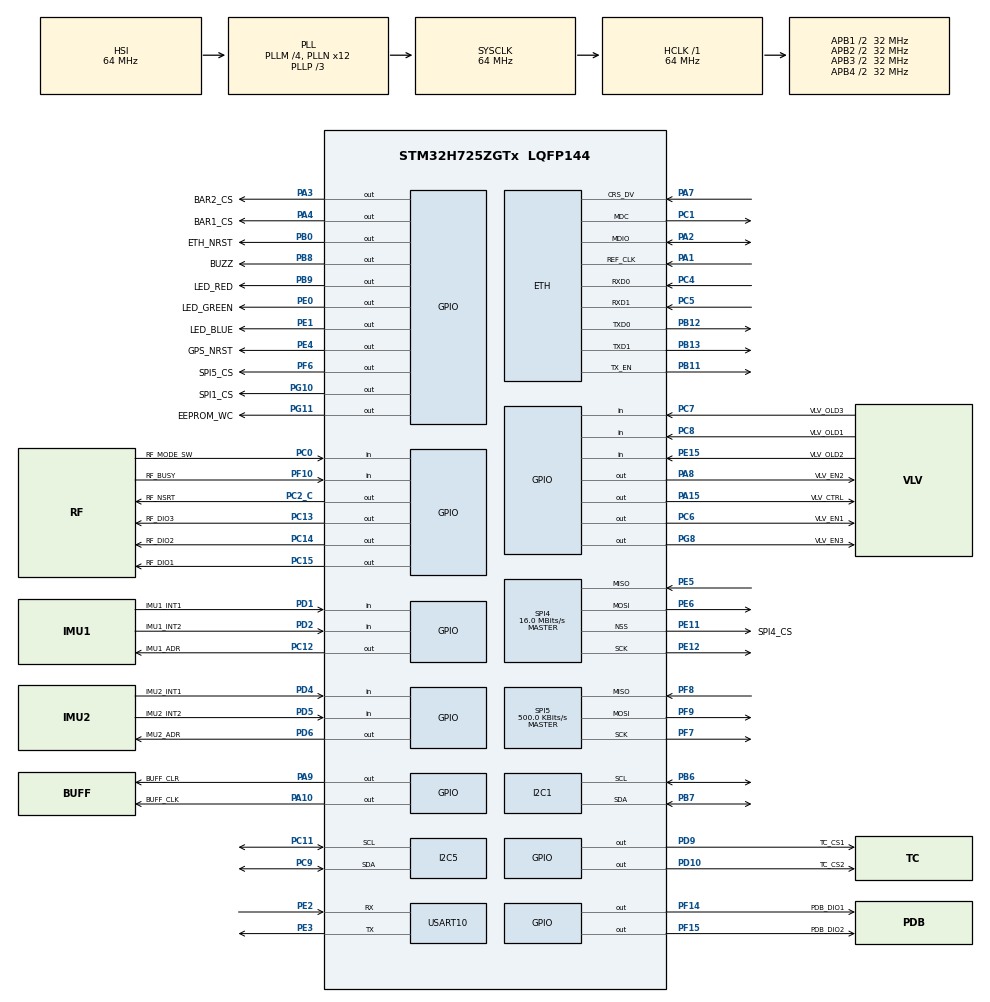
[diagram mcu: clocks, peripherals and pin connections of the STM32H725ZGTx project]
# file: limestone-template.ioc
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CORTEX_M7.AccessPermission-Cortex_Memory_Protection_Unit_Region0_Settings=MPU_REGION_NO_ACCESS
CORTEX_M7.AccessPermission-Cortex_Memory_Protection_Unit_Region1_Settings=MPU_REGION_FULL_ACCESS
CORTEX_M7.AccessPermission-Cortex_Memory_Protection_Unit_Region2_Settings=MPU_REGION_FULL_ACCESS
CORTEX_M7.AccessPermission_S-Cortex_Memory_Protection_Unit_Region1_Settings_S=MPU_REGION_FULL_ACCESS
CORTEX_M7.AccessPermission_S-Cortex_Memory_Protection_Unit_Region2_Settings_S=MPU_REGION_FULL_ACCESS
CORTEX_M7.AccessPermission_Spec=MPU_REGION_NO_ACCESS
CORTEX_M7.BaseAddress-Cortex_Memory_Protection_Unit_Region0_Settings=0x00000000
CORTEX_M7.BaseAddress-Cortex_Memory_Protection_Unit_Region1_Settings=0x30000200
CORTEX_M7.BaseAddress-Cortex_Memory_Protection_Unit_Region2_Settings=0x30000000
CORTEX_M7.BaseAddress_S-Cortex_Memory_Protection_Unit_Region1_Settings_S=0x30020000
CORTEX_M7.BaseAddress_S-Cortex_Memory_Protection_Unit_Region2_Settings_S=0x30040000
CORTEX_M7.CPU_DCache=Enabled
CORTEX_M7.CPU_ICache=Enabled
CORTEX_M7.DisableExec-Cortex_Memory_Protection_Unit_Region0_Settings=MPU_INSTRUCTION_ACCESS_DISABLE
CORTEX_M7.DisableExec-Cortex_Memory_Protection_Unit_Region1_Settings=MPU_INSTRUCTION_ACCESS_DISABLE
CORTEX_M7.DisableExec-Cortex_Memory_Protection_Unit_Region2_Settings=MPU_INSTRUCTION_ACCESS_DISABLE
CORTEX_M7.DisableExec_S-Cortex_Memory_Protection_Unit_Region1_Settings_S=MPU_INSTRUCTION_ACCESS_DISABLE
CORTEX_M7.DisableExec_S-Cortex_Memory_Protection_Unit_Region2_Settings_S=MPU_INSTRUCTION_ACCESS_DISABLE
CORTEX_M7.Enable-Cortex_Memory_Protection_Unit_Region0_Settings=MPU_REGION_ENABLE
CORTEX_M7.Enable-Cortex_Memory_Protection_Unit_Region1_Settings=MPU_REGION_ENABLE
CORTEX_M7.Enable-Cortex_Memory_Protection_Unit_Region2_Settings=MPU_REGION_ENABLE
CORTEX_M7.Enable_S-Cortex_Memory_Protection_Unit_Region1_Settings_S=MPU_REGION_ENABLE
CORTEX_M7.Enable_S-Cortex_Memory_Protection_Unit_Region2_Settings_S=MPU_REGION_ENABLE
CORTEX_M7.IsBufferable-Cortex_Memory_Protection_Unit_Region1_Settings=MPU_ACCESS_NOT_BUFFERABLE
CORTEX_M7.IsBufferable-Cortex_Memory_Protection_Unit_Region2_Settings=MPU_ACCESS_BUFFERABLE
CORTEX_M7.IsBufferable_S-Cortex_Memory_Protection_Unit_Region2_Settings_S=MPU_ACCESS_BUFFERABLE
CORTEX_M7.IsCacheable-Cortex_Memory_Protection_Unit_Region1_Settings=MPU_ACCESS_NOT_CACHEABLE
CORTEX_M7.IsShareable-Cortex_Memory_Protection_Unit_Region0_Settings=MPU_ACCESS_SHAREABLE
CORTEX_M7.IsShareable-Cortex_Memory_Protection_Unit_Region2_Settings=MPU_ACCESS_SHAREABLE
CORTEX_M7.IsShareable_S-Cortex_Memory_Protection_Unit_Region1_Settings_S=MPU_ACCESS_NOT_SHAREABLE
CORTEX_M7.IsShareable_S-Cortex_Memory_Protection_Unit_Region2_Settings_S=MPU_ACCESS_SHAREABLE
CORTEX_M7.MPU_Control=MPU_PRIVILEGED_DEFAULT
CORTEX_M7.Size-Cortex_Memory_Protection_Unit_Region0_Settings=MPU_REGION_SIZE_4GB
CORTEX_M7.Size-Cortex_Memory_Protection_Unit_Region1_Settings=MPU_REGION_SIZE_128KB
CORTEX_M7.Size-Cortex_Memory_Protection_Unit_Region2_Settings=MPU_REGION_SIZE_512B
CORTEX_M7.Size_S-Cortex_Memory_Protection_Unit_Region1_Settings_S=MPU_REGION_SIZE_128KB
CORTEX_M7.Size_S-Cortex_Memory_Protection_Unit_Region2_Settings_S=MPU_REGION_SIZE_512B
CORTEX_M7.SubRegionDisable-Cortex_Memory_Protection_Unit_Region0_Settings=0x87
CORTEX_M7.SubRegionDisable_S-Cortex_Memory_Protection_Unit_Region1_Settings_S=0x0
CORTEX_M7.TypeExtField-Cortex_Memory_Protection_Unit_Region1_Settings=MPU_TEX_LEVEL1
CORTEX_M7.TypeExtField_S-Cortex_Memory_Protection_Unit_Region1_Settings_S=MPU_TEX_LEVEL1
CORTEX_M7.default_mode_Activation=1
ETH.MediaInterface=HAL_ETH_RMII_MODE
ETH.RxBuffLen=1524
ETH.TxDescAddress=0x30000080
FREERTOS.Tasks01=defaultTask,24,512,StartDefaultTask,Default,NULL,Dynamic,NULL,NULL
FREERTOS.configUSE_NEWLIB_REENTRANT=1
I2C1.Timing=0x00707CBB
I2C5.Timing=0x00707CBB
Mcu.Family=STM32H7
Mcu.Name=STM32H725ZGTx
Mcu.Package=LQFP144
NVIC.ETH_IRQn=true\:5\:0\:true\:false\:true\:true\:true\:true\:true
NVIC.PriorityGroup=NVIC_PRIORITYGROUP_4
NVIC.TIM6_DAC_IRQn=true\:15\:0\:false\:false\:true\:false\:false\:true\:true
NVIC.TimeBase=TIM6_DAC_IRQn
NVIC.TimeBaseIP=TIM6
PA1.GPIO_Speed=GPIO_SPEED_FREQ_VERY_HIGH
PA1.Mode=RMII
PA1.Signal=ETH_REF_CLK
PA10.GPIO_Label=BUFF_CLK
PA10.GPIO_Speed=GPIO_SPEED_FREQ_VERY_HIGH
PA10.Signal=GPIO_Output
PA13(JTMS/SWDIO).Mode=Serial_Wire
PA13(JTMS/SWDIO).Signal=DEBUG_JTMS-SWDIO
PA14(JTCK/SWCLK).Mode=Serial_Wire
PA14(JTCK/SWCLK).Signal=DEBUG_JTCK-SWCLK
PA15(JTDI).GPIO_Label=VLV_CTRL
PA15(JTDI).GPIO_PuPd=GPIO_NOPULL
PA15(JTDI).GPIO_Speed=GPIO_SPEED_FREQ_VERY_HIGH
PA15(JTDI).Signal=GPIO_Output
PA2.GPIO_Speed=GPIO_SPEED_FREQ_VERY_HIGH
PA2.Mode=RMII
PA2.Signal=ETH_MDIO
PA3.GPIO_Label=BAR2_CS
PA3.Signal=GPIO_Output
PA4.GPIO_Label=BAR1_CS
PA4.Signal=GPIO_Output
PA6.Signal=SPI1_MISO
PA7.GPIO_Speed=GPIO_SPEED_FREQ_VERY_HIGH
PA7.Mode=RMII
PA7.Signal=ETH_CRS_DV
PA8.GPIO_Label=VLV_EN2
PA8.Signal=GPIO_Output
PA9.GPIO_Label=BUFF_CLR
PA9.GPIO_Speed=GPIO_SPEED_FREQ_VERY_HIGH
PA9.Signal=GPIO_Output
PB0.GPIO_Label=ETH_NRST
PB0.Signal=GPIO_Output
PB10.Signal=SPI2_SCK
PB11.GPIO_Speed=GPIO_SPEED_FREQ_VERY_HIGH
PB11.Mode=RMII
PB11.Signal=ETH_TX_EN
PB12.GPIO_Speed=GPIO_SPEED_FREQ_VERY_HIGH
PB12.Mode=RMII
PB12.Signal=ETH_TXD0
PB13.GPIO_Speed=GPIO_SPEED_FREQ_VERY_HIGH
PB13.Mode=RMII
PB13.Signal=ETH_TXD1
PB14.Signal=SPI2_MISO
PB15.Signal=SPI2_MOSI
PB2.Signal=SPI3_MOSI
PB3(JTDO/TRACESWO).Signal=SPI1_SCK
PB4(NJTRST).Signal=SPI3_MISO
PB5.Signal=SPI1_MOSI
PB6.Mode=I2C
PB6.Signal=I2C1_SCL
PB7.Mode=I2C
PB7.Signal=I2C1_SDA
PB8.GPIO_Label=BUZZ
PB8.Signal=GPIO_Output
PB9.GPIO_Label=LED_RED
PB9.Signal=GPIO_Output
PC0.GPIO_Label=RF_MODE_SW
PC0.Signal=GPIO_Input
PC1.GPIO_Speed=GPIO_SPEED_FREQ_VERY_HIGH
PC1.Mode=RMII
PC1.Signal=ETH_MDC
PC10.Signal=SPI3_SCK
PC11.Mode=I2C
PC11.Signal=I2C5_SCL
PC12.GPIO_Label=IMU1_ADR
PC12.Signal=GPIO_Output
PC13.GPIO_Label=RF_DIO3
PC13.Signal=GPIO_Output
PC14-OSC32_IN.GPIO_Label=RF_DIO2
PC14-OSC32_IN.Signal=GPIO_Output
PC15-OSC32_OUT.GPIO_Label=RF_DIO1
PC15-OSC32_OUT.Signal=GPIO_Output
PC2_C.GPIO_Label=RF_NSRT
PC2_C.Signal=GPIO_Output
PC4.GPIO_Speed=GPIO_SPEED_FREQ_VERY_HIGH
PC4.Mode=RMII
PC4.Signal=ETH_RXD0
PC5.GPIO_Speed=GPIO_SPEED_FREQ_VERY_HIGH
PC5.Mode=RMII
PC5.Signal=ETH_RXD1
PC6.GPIO_Label=VLV_EN1
PC6.Signal=GPIO_Output
PC7.GPIO_Label=VLV_OLD3
PC7.Signal=GPIO_Input
PC8.GPIO_Label=VLV_OLD1
PC8.Signal=GPIO_Input
PC9.Mode=I2C
PC9.Signal=I2C5_SDA
PD1.GPIO_Label=IMU1_INT1
PD1.Signal=GPIO_Input
PD10.GPIO_Label=TC_CS2
PD10.Signal=GPIO_Output
PD2.GPIO_Label=IMU1_INT2
PD2.Signal=GPIO_Input
PD4.GPIO_Label=IMU2_INT1
PD4.Signal=GPIO_Input
PD5.GPIO_Label=IMU2_INT2
PD5.Signal=GPIO_Input
PD6.GPIO_Label=IMU2_ADR
PD6.Signal=GPIO_Output
PD9.GPIO_Label=TC_CS1
PD9.Signal=GPIO_Output
PE0.GPIO_Label=LED_GREEN
PE0.Signal=GPIO_Output
PE1.GPIO_Label=LED_BLUE
PE1.Signal=GPIO_Output
PE11.GPIO_Label=SPI4_CS
PE11.Mode=NSS_Signal_Hard_Output
PE11.Signal=SPI4_NSS
PE12.Mode=Full_Duplex_Master
PE12.Signal=SPI4_SCK
PE15.GPIO_Label=VLV_OLD2
PE15.Signal=GPIO_Input
PE2.Mode=Asynchronous
PE2.Signal=USART10_RX
PE3.Mode=Asynchronous
PE3.Signal=USART10_TX
PE4.GPIO_Label=GPS_NRST
PE4.Signal=GPIO_Output
PE5.Mode=Full_Duplex_Master
PE5.Signal=SPI4_MISO
PE6.Mode=Full_Duplex_Master
PE6.Signal=SPI4_MOSI
PF10.GPIO_Label=RF_BUSY
PF10.Signal=GPIO_Input
PF14.GPIO_Label=PDB_DIO1
PF14.Signal=GPIO_Output
PF15.GPIO_Label=PDB_DIO2
PF15.Signal=GPIO_Output
PF6.GPIO_Label=SPI5_CS
PF6.Signal=GPIO_Output
PF7.Mode=Full_Duplex_Master
PF7.Signal=SPI5_SCK
PF8.Mode=Full_Duplex_Master
PF8.Signal=SPI5_MISO
PF9.Mode=Full_Duplex_Master
PF9.Signal=SPI5_MOSI
PG10.GPIO_Label=SPI1_CS
PG10.Signal=GPIO_Output
PG11.GPIO_Label=EEPROM_WC
PG11.Signal=GPIO_Output
PG12.Signal=SPI6_MISO
PG14.Signal=SPI6_MOSI
PG8.GPIO_Label=VLV_EN3
PG8.Signal=GPIO_Output
ProjectManager.HeapSize=0x200
ProjectManager.StackSize=0x400
ProjectManager.TargetToolchain=STM32CubeIDE
RCC.ADCFreq_Value=516000000
RCC.APB1Freq_Value=32000000
RCC.APB2Freq_Value=32000000
RCC.APB3Freq_Value=32000000
RCC.APB4Freq_Value=32000000
RCC.CortexFreq_Value=64000000
RCC.D1PPRE=RCC_APB3_DIV2
RCC.D2PPRE1=RCC_APB1_DIV2
RCC.D2PPRE2=RCC_APB2_DIV2
RCC.D3PPRE=RCC_APB4_DIV2
RCC.DIVM1=4
RCC.DIVM2=8
RCC.DIVM3=8
RCC.DIVN1=12
RCC.DIVP1=3
RCC.DIVQ1=3
RCC.HCLKFreq_Value=64000000
RCC.HSE_VALUE=48000000
RCC.PLL2FRACN=0
RCC.PLL3FRACN=0
RCC.PLLFRACN=0
RCC.SYSCLKFreq_VALUE=64000000
RCC.SYSCLKSource=RCC_SYSCLKSOURCE_PLLCLK
RCC.SupplySource=PWR_LDO_SUPPLY
RCC.USBFreq_Value=64000000
SPI4.CalculateBaudRate=16.0 MBits/s
SPI4.DataSize=SPI_DATASIZE_8BIT
SPI4.Direction=SPI_DIRECTION_2LINES
SPI4.Mode=SPI_MODE_MASTER
SPI4.VirtualNSS=VM_NSSHARD
SPI4.VirtualType=VM_MASTER
SPI5.BaudRatePrescaler=SPI_BAUDRATEPRESCALER_64
SPI5.CalculateBaudRate=500.0 KBits/s
SPI5.DataSize=SPI_DATASIZE_8BIT
SPI5.Direction=SPI_DIRECTION_2LINES
SPI5.Mode=SPI_MODE_MASTER
SPI5.VirtualType=VM_MASTER
USART10.VirtualMode-Asynchronous=VM_ASYNC
VP_FREERTOS_VS_CMSIS_V2.Mode=CMSIS_V2
VP_MEMORYMAP_VS_MEMORYMAP.Mode=CurAppReg
VP_RTC_VS_RTC_Activate.Mode=RTC_Enabled
VP_SYS_VS_tim6.Mode=TIM6
board=custom

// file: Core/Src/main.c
/* USER CODE BEGIN Header */
/**
  ******************************************************************************
  * @file           : main.c
  * @brief          : Main program body
  ******************************************************************************
  * @attention
  *
  * Copyright (c) 2024 STMicroelectronics.
  * All rights reserved.
  *
  * This software is licensed under terms that can be found in the LICENSE file
  * in the root directory of this software component.
  * If no LICENSE file comes with this software, it is provided AS-IS.
  *
  ******************************************************************************
  */
/* USER CODE END Header */
#include "main.h"
#include "string.h"
#include "cmsis_os.h"

/* USER CODE BEGIN Includes */
#include "MS5611.h"
#include "sx1280.h"
#include <stdio.h>
/* USER CODE END Includes */

/* USER CODE BEGIN PD */
//CHANGE TRANSMIT/RECEIVE HERE
#define IS_TRANSMITTER 0

// Packet Defines
#define TARGET_PAYLOAD_SIZE 375
#define MAX_LORA_PAYLOAD 255
#define HEADER_SIZE 1 // 1 byte for Packet Sequence Number
#define CHUNK_SIZE (MAX_LORA_PAYLOAD - HEADER_SIZE)
/* USER CODE END PD */

/* USER CODE BEGIN PM */
#define SX1280_IRQ_TX_DONE              (1 << 0)
#define SX1280_IRQ_RX_DONE              (1 << 1)
#define SX1280_IRQ_SYNC_WORD_VALID      (1 << 2)
#define SX1280_IRQ_SYNC_WORD_ERROR      (1 << 3)
#define SX1280_IRQ_HEADER_VALID         (1 << 4)
#define SX1280_IRQ_HEADER_ERROR         (1 << 5)
#define SX1280_IRQ_CRC_ERROR            (1 << 6)
#define SX1280_IRQ_RX_TX_TIMEOUT        (1 << 14)
/* USER CODE END PM */

#if defined ( __ICCARM__ ) /*!< IAR Compiler */
#pragma location=0x30000000
ETH_DMADescTypeDef  DMARxDscrTab[ETH_RX_DESC_CNT]; /* Ethernet Rx DMA Descriptors */
#pragma location=0x30000080
ETH_DMADescTypeDef  DMATxDscrTab[ETH_TX_DESC_CNT]; /* Ethernet Tx DMA Descriptors */

#elif defined ( __CC_ARM )  /* MDK ARM Compiler */

__attribute__((at(0x30000000))) ETH_DMADescTypeDef  DMARxDscrTab[ETH_RX_DESC_CNT]; /* Ethernet Rx DMA Descriptors */
__attribute__((at(0x30000080))) ETH_DMADescTypeDef  DMATxDscrTab[ETH_TX_DESC_CNT]; /* Ethernet Tx DMA Descriptors */

#elif defined ( __GNUC__ ) /* GNU Compiler */

ETH_DMADescTypeDef DMARxDscrTab[ETH_RX_DESC_CNT] __attribute__((section(".RxDescripSection"))); /* Ethernet Rx DMA Descriptors */
ETH_DMADescTypeDef DMATxDscrTab[ETH_TX_DESC_CNT] __attribute__((section(".TxDescripSection")));   /* Ethernet Tx DMA Descriptors */
#endif

ETH_TxPacketConfig TxConfig;

ETH_HandleTypeDef heth;

I2C_HandleTypeDef hi2c1;
I2C_HandleTypeDef hi2c5;

RTC_HandleTypeDef hrtc;

SPI_HandleTypeDef hspi4;
SPI_HandleTypeDef hspi5;

UART_HandleTypeDef huart10;

/* Definitions for defaultTask */
osThreadId_t defaultTaskHandle;
const osThreadAttr_t defaultTask_attributes = {
  .name = "defaultTask",
  .stack_size = 1024 * 4,
  .priority = (osPriority_t) osPriorityNormal,
};
/* USER CODE BEGIN PV */
// Handle for radio driver
SX1280_Hal_t radio_hal_config;

// Status var for driver funcs
SX1280_Status_t radio_status;

#ifdef __GNUC__
#define PUTCHAR_PROTOTYPE int __io_putchar(int ch)
#else
#define PUTCHAR_PROTOTYPE int fputc(int ch, FILE *f)
#endif
PUTCHAR_PROTOTYPE
{
  HAL_UART_Transmit(&huart10, (uint8_t *)&ch, 1, HAL_MAX_DELAY);
  return ch;
}

/* USER CODE END PV */

void SystemClock_Config(void);
static void MPU_Config(void);
static void MX_GPIO_Init(void);
static void MX_I2C1_Init(void);
static void MX_I2C5_Init(void);
static void MX_SPI4_Init(void);
static void MX_SPI5_Init(void);
static void MX_USART10_UART_Init(void);
static void MX_RTC_Init(void);
static void MX_ETH_Init(void);
void StartDefaultTask(void *argument);

int main(void)
{

  /* USER CODE BEGIN 1 */
  //SCB->VTOR = FLASH_BASE; // fuck this stupid bug kys
  /* USER CODE END 1 */

  /* MPU Configuration--------------------------------------------------------*/
  MPU_Config();

  /* Enable the CPU Cache */

  /* Enable I-Cache---------------------------------------------------------*/
  SCB_EnableICache();

  /* Enable D-Cache---------------------------------------------------------*/
  SCB_EnableDCache();

  /* MCU Configuration--------------------------------------------------------*/

  /* Reset of all peripherals, Initializes the Flash interface and the Systick. */
  HAL_Init();

  /* Configure the system clock */
  SystemClock_Config();

  /* Initialize all configured peripherals */
  MX_GPIO_Init();
  MX_I2C1_Init();
  MX_I2C5_Init();
  MX_SPI4_Init();
  MX_SPI5_Init();
  MX_USART10_UART_Init();
  MX_RTC_Init();
  MX_ETH_Init();
  /* USER CODE BEGIN 2 */
  printf("LIMESTONE BOOTING--\r\n");

  /* USER CODE END 2 */

  /* Init scheduler */
  osKernelInitialize();

  /* Create the thread(s) */
  /* creation of defaultTask */
  defaultTaskHandle = osThreadNew(StartDefaultTask, NULL, &defaultTask_attributes);

  /* Start scheduler */
  osKernelStart();

  /* We should never get here as control is now taken by the scheduler */

  /* Infinite loop */
  while (1)
  {

  }
}

void SystemClock_Config(void)
{
  RCC_OscInitTypeDef RCC_OscInitStruct = {0};
  RCC_ClkInitTypeDef RCC_ClkInitStruct = {0};

  /** Supply configuration update enable
  */
  HAL_PWREx_ConfigSupply(PWR_LDO_SUPPLY);

  /** Configure the main internal regulator output voltage
  */
  __HAL_PWR_VOLTAGESCALING_CONFIG(PWR_REGULATOR_VOLTAGE_SCALE3);

  while(!__HAL_PWR_GET_FLAG(PWR_FLAG_VOSRDY)) {}

  /** Initializes the RCC Oscillators according to the specified parameters
  * in the RCC_OscInitTypeDef structure.
  */
  RCC_OscInitStruct.OscillatorType = RCC_OSCILLATORTYPE_HSI|RCC_OSCILLATORTYPE_LSI;
  RCC_OscInitStruct.HSIState = RCC_HSI_DIV1;
  RCC_OscInitStruct.HSICalibrationValue = 64;
  RCC_OscInitStruct.LSIState = RCC_LSI_ON;
  RCC_OscInitStruct.PLL.PLLState = RCC_PLL_ON;
  RCC_OscInitStruct.PLL.PLLSource = RCC_PLLSOURCE_HSI;
  RCC_OscInitStruct.PLL.PLLM = 4;
  RCC_OscInitStruct.PLL.PLLN = 12;
  RCC_OscInitStruct.PLL.PLLP = 3;
  RCC_OscInitStruct.PLL.PLLQ = 3;
  RCC_OscInitStruct.PLL.PLLR = 2;
  RCC_OscInitStruct.PLL.PLLRGE = RCC_PLL1VCIRANGE_3;
  RCC_OscInitStruct.PLL.PLLVCOSEL = RCC_PLL1VCOWIDE;
  RCC_OscInitStruct.PLL.PLLFRACN = 0;
  if (HAL_RCC_OscConfig(&RCC_OscInitStruct) != HAL_OK)
  {
    Error_Handler();
  }

  /** Initializes the CPU, AHB and APB buses clocks
  */
  RCC_ClkInitStruct.ClockType = RCC_CLOCKTYPE_HCLK|RCC_CLOCKTYPE_SYSCLK
                              |RCC_CLOCKTYPE_PCLK1|RCC_CLOCKTYPE_PCLK2
                              |RCC_CLOCKTYPE_D3PCLK1|RCC_CLOCKTYPE_D1PCLK1;
  RCC_ClkInitStruct.SYSCLKSource = RCC_SYSCLKSOURCE_PLLCLK;
  RCC_ClkInitStruct.SYSCLKDivider = RCC_SYSCLK_DIV1;
  RCC_ClkInitStruct.AHBCLKDivider = RCC_HCLK_DIV1;
  RCC_ClkInitStruct.APB3CLKDivider = RCC_APB3_DIV2;
  RCC_ClkInitStruct.APB1CLKDivider = RCC_APB1_DIV2;
  RCC_ClkInitStruct.APB2CLKDivider = RCC_APB2_DIV2;
  RCC_ClkInitStruct.APB4CLKDivider = RCC_APB4_DIV2;

  if (HAL_RCC_ClockConfig(&RCC_ClkInitStruct, FLASH_LATENCY_1) != HAL_OK)
  {
    Error_Handler();
  }
}

static void MX_ETH_Init(void)
{

   static uint8_t MACAddr[6];

  heth.Instance = ETH;
  MACAddr[0] = 0x00;
  MACAddr[1] = 0x80;
  MACAddr[2] = 0xE1;
  MACAddr[3] = 0x00;
  MACAddr[4] = 0x00;
  MACAddr[5] = 0x00;
  heth.Init.MACAddr = &MACAddr[0];
  heth.Init.MediaInterface = HAL_ETH_RMII_MODE;
  heth.Init.TxDesc = DMATxDscrTab;
  heth.Init.RxDesc = DMARxDscrTab;
  heth.Init.RxBuffLen = 1524;

  if (HAL_ETH_Init(&heth) != HAL_OK)
  {
    Error_Handler();
  }

  memset(&TxConfig, 0 , sizeof(ETH_TxPacketConfig));
  TxConfig.Attributes = ETH_TX_PACKETS_FEATURES_CSUM | ETH_TX_PACKETS_FEATURES_CRCPAD;
  TxConfig.ChecksumCtrl = ETH_CHECKSUM_IPHDR_PAYLOAD_INSERT_PHDR_CALC;
  TxConfig.CRCPadCtrl = ETH_CRC_PAD_INSERT;

}

static void MX_I2C1_Init(void)
{

  hi2c1.Instance = I2C1;
  hi2c1.Init.Timing = 0x00707CBB;
  hi2c1.Init.OwnAddress1 = 0;
  hi2c1.Init.AddressingMode = I2C_ADDRESSINGMODE_7BIT;
  hi2c1.Init.DualAddressMode = I2C_DUALADDRESS_DISABLE;
  hi2c1.Init.OwnAddress2 = 0;
  hi2c1.Init.OwnAddress2Masks = I2C_OA2_NOMASK;
  hi2c1.Init.GeneralCallMode = I2C_GENERALCALL_DISABLE;
  hi2c1.Init.NoStretchMode = I2C_NOSTRETCH_DISABLE;
  if (HAL_I2C_Init(&hi2c1) != HAL_OK)
  {
    Error_Handler();
  }

  /** Configure Analogue filter
  */
  if (HAL_I2CEx_ConfigAnalogFilter(&hi2c1, I2C_ANALOGFILTER_ENABLE) != HAL_OK)
  {
    Error_Handler();
  }

  /** Configure Digital filter
  */
  if (HAL_I2CEx_ConfigDigitalFilter(&hi2c1, 0) != HAL_OK)
  {
    Error_Handler();
  }

}

static void MX_I2C5_Init(void)
{

  hi2c5.Instance = I2C5;
  hi2c5.Init.Timing = 0x00707CBB;
  hi2c5.Init.OwnAddress1 = 0;
  hi2c5.Init.AddressingMode = I2C_ADDRESSINGMODE_7BIT;
  hi2c5.Init.DualAddressMode = I2C_DUALADDRESS_DISABLE;
  hi2c5.Init.OwnAddress2 = 0;
  hi2c5.Init.OwnAddress2Masks = I2C_OA2_NOMASK;
  hi2c5.Init.GeneralCallMode = I2C_GENERALCALL_DISABLE;
  hi2c5.Init.NoStretchMode = I2C_NOSTRETCH_DISABLE;
  if (HAL_I2C_Init(&hi2c5) != HAL_OK)
  {
    Error_Handler();
  }

  /** Configure Analogue filter
  */
  if (HAL_I2CEx_ConfigAnalogFilter(&hi2c5, I2C_ANALOGFILTER_ENABLE) != HAL_OK)
  {
    Error_Handler();
  }

  /** Configure Digital filter
  */
  if (HAL_I2CEx_ConfigDigitalFilter(&hi2c5, 0) != HAL_OK)
  {
    Error_Handler();
  }

}

static void MX_RTC_Init(void)
{

  /** Initialize RTC Only
  */
  hrtc.Instance = RTC;
  hrtc.Init.HourFormat = RTC_HOURFORMAT_24;
  hrtc.Init.AsynchPrediv = 127;
  hrtc.Init.SynchPrediv = 255;
  hrtc.Init.OutPut = RTC_OUTPUT_DISABLE;
  hrtc.Init.OutPutPolarity = RTC_OUTPUT_POLARITY_HIGH;
  hrtc.Init.OutPutType = RTC_OUTPUT_TYPE_OPENDRAIN;
  hrtc.Init.OutPutRemap = RTC_OUTPUT_REMAP_NONE;
  if (HAL_RTC_Init(&hrtc) != HAL_OK)
  {
    Error_Handler();
  }

}

static void MX_SPI4_Init(void)
{

  /* SPI4 parameter configuration*/
  hspi4.Instance = SPI4;
  hspi4.Init.Mode = SPI_MODE_MASTER;
  hspi4.Init.Direction = SPI_DIRECTION_2LINES;
  hspi4.Init.DataSize = SPI_DATASIZE_8BIT;
  hspi4.Init.CLKPolarity = SPI_POLARITY_LOW;
  hspi4.Init.CLKPhase = SPI_PHASE_1EDGE;
  hspi4.Init.NSS = SPI_NSS_HARD_OUTPUT;
  hspi4.Init.BaudRatePrescaler = SPI_BAUDRATEPRESCALER_2;
  hspi4.Init.FirstBit = SPI_FIRSTBIT_MSB;
  hspi4.Init.TIMode = SPI_TIMODE_DISABLE;
  hspi4.Init.CRCCalculation = SPI_CRCCALCULATION_DISABLE;
  hspi4.Init.CRCPolynomial = 0x0;
  hspi4.Init.NSSPMode = SPI_NSS_PULSE_ENABLE;
  hspi4.Init.NSSPolarity = SPI_NSS_POLARITY_LOW;
  hspi4.Init.FifoThreshold = SPI_FIFO_THRESHOLD_01DATA;
  hspi4.Init.TxCRCInitializationPattern = SPI_CRC_INITIALIZATION_ALL_ZERO_PATTERN;
  hspi4.Init.RxCRCInitializationPattern = SPI_CRC_INITIALIZATION_ALL_ZERO_PATTERN;
  hspi4.Init.MasterSSIdleness = SPI_MASTER_SS_IDLENESS_00CYCLE;
  hspi4.Init.MasterInterDataIdleness = SPI_MASTER_INTERDATA_IDLENESS_00CYCLE;
  hspi4.Init.MasterReceiverAutoSusp = SPI_MASTER_RX_AUTOSUSP_DISABLE;
  hspi4.Init.MasterKeepIOState = SPI_MASTER_KEEP_IO_STATE_DISABLE;
  hspi4.Init.IOSwap = SPI_IO_SWAP_DISABLE;
  if (HAL_SPI_Init(&hspi4) != HAL_OK)
  {
    Error_Handler();
  }

}

static void MX_SPI5_Init(void)
{

  /* SPI5 parameter configuration*/
  hspi5.Instance = SPI5;
  hspi5.Init.Mode = SPI_MODE_MASTER;
  hspi5.Init.Direction = SPI_DIRECTION_2LINES;
  hspi5.Init.DataSize = SPI_DATASIZE_8BIT;
  hspi5.Init.CLKPolarity = SPI_POLARITY_LOW;
  hspi5.Init.CLKPhase = SPI_PHASE_1EDGE;
  hspi5.Init.NSS = SPI_NSS_SOFT;
  hspi5.Init.BaudRatePrescaler = SPI_BAUDRATEPRESCALER_64;
  hspi5.Init.FirstBit = SPI_FIRSTBIT_MSB;
  hspi5.Init.TIMode = SPI_TIMODE_DISABLE;
  hspi5.Init.CRCCalculation = SPI_CRCCALCULATION_DISABLE;
  hspi5.Init.CRCPolynomial = 0x0;
  hspi5.Init.NSSPMode = SPI_NSS_PULSE_ENABLE;
  hspi5.Init.NSSPolarity = SPI_NSS_POLARITY_LOW;
  hspi5.Init.FifoThreshold = SPI_FIFO_THRESHOLD_01DATA;
  hspi5.Init.TxCRCInitializationPattern = SPI_CRC_INITIALIZATION_ALL_ZERO_PATTERN;
  hspi5.Init.RxCRCInitializationPattern = SPI_CRC_INITIALIZATION_ALL_ZERO_PATTERN;
  hspi5.Init.MasterSSIdleness = SPI_MASTER_SS_IDLENESS_00CYCLE;
  hspi5.Init.MasterInterDataIdleness = SPI_MASTER_INTERDATA_IDLENESS_00CYCLE;
  hspi5.Init.MasterReceiverAutoSusp = SPI_MASTER_RX_AUTOSUSP_DISABLE;
  hspi5.Init.MasterKeepIOState = SPI_MASTER_KEEP_IO_STATE_DISABLE;
  hspi5.Init.IOSwap = SPI_IO_SWAP_DISABLE;
  if (HAL_SPI_Init(&hspi5) != HAL_OK)
  {
    Error_Handler();
  }

}

static void MX_USART10_UART_Init(void)
{

  huart10.Instance = USART10;
  huart10.Init.BaudRate = 115200;
  huart10.Init.WordLength = UART_WORDLENGTH_8B;
  huart10.Init.StopBits = UART_STOPBITS_1;
  huart10.Init.Parity = UART_PARITY_NONE;
  huart10.Init.Mode = UART_MODE_TX_RX;
  huart10.Init.HwFlowCtl = UART_HWCONTROL_NONE;
  huart10.Init.OverSampling = UART_OVERSAMPLING_16;
  huart10.Init.OneBitSampling = UART_ONE_BIT_SAMPLE_DISABLE;
  huart10.Init.ClockPrescaler = UART_PRESCALER_DIV1;
  huart10.AdvancedInit.AdvFeatureInit = UART_ADVFEATURE_NO_INIT;
  if (HAL_UART_Init(&huart10) != HAL_OK)
  {
    Error_Handler();
  }
  if (HAL_UARTEx_SetTxFifoThreshold(&huart10, UART_TXFIFO_THRESHOLD_1_8) != HAL_OK)
  {
    Error_Handler();
  }
  if (HAL_UARTEx_SetRxFifoThreshold(&huart10, UART_RXFIFO_THRESHOLD_1_8) != HAL_OK)
  {
    Error_Handler();
  }
  if (HAL_UARTEx_DisableFifoMode(&huart10) != HAL_OK)
  {
    Error_Handler();
  }

}

static void MX_GPIO_Init(void)
{
  GPIO_InitTypeDef GPIO_InitStruct = {0};

  /* GPIO Ports Clock Enable */
  __HAL_RCC_GPIOE_CLK_ENABLE();
  __HAL_RCC_GPIOC_CLK_ENABLE();
  __HAL_RCC_GPIOF_CLK_ENABLE();
  __HAL_RCC_GPIOA_CLK_ENABLE();
  __HAL_RCC_GPIOB_CLK_ENABLE();
  __HAL_RCC_GPIOD_CLK_ENABLE();
  __HAL_RCC_GPIOG_CLK_ENABLE();

  /*Configure GPIO pin Output Level */
  HAL_GPIO_WritePin(GPIOE, GPS_NRST_Pin|LED_GREEN_Pin|LED_BLUE_Pin, GPIO_PIN_RESET);

  /*Configure GPIO pin Output Level */
  HAL_GPIO_WritePin(GPIOC, RF_DIO3_Pin|RF_DIO2_Pin|RF_DIO1_Pin|RF_NSRT_Pin
                          |VLV_EN1_Pin|IMU1_ADR_Pin, GPIO_PIN_RESET);

  /*Configure GPIO pin Output Level */
  HAL_GPIO_WritePin(GPIOF, SPI5_CS_Pin|PDB_DIO1_Pin|PDB_DIO2_Pin, GPIO_PIN_RESET);

  /*Configure GPIO pin Output Level */
  HAL_GPIO_WritePin(GPIOA, BAR2_CS_Pin|BAR1_CS_Pin|VLV_EN2_Pin|BUFF_CLR_Pin
                          |BUFF_CLK_Pin|VLV_CTRL_Pin, GPIO_PIN_RESET);

  /*Configure GPIO pin Output Level */
  HAL_GPIO_WritePin(GPIOB, ETH_NRST_Pin|BUZZ_Pin|LED_RED_Pin, GPIO_PIN_RESET);

  /*Configure GPIO pin Output Level */
  HAL_GPIO_WritePin(GPIOD, TC_CS1_Pin|TC_CS2_Pin|IMU2_ADR_Pin, GPIO_PIN_RESET);

  /*Configure GPIO pin Output Level */
  HAL_GPIO_WritePin(GPIOG, VLV_EN3_Pin|SPI1_CS_Pin|EEPROM_WC_Pin, GPIO_PIN_RESET);

  /*Configure GPIO pins : GPS_NRST_Pin LED_GREEN_Pin LED_BLUE_Pin */
  GPIO_InitStruct.Pin = GPS_NRST_Pin|LED_GREEN_Pin|LED_BLUE_Pin;
  GPIO_InitStruct.Mode = GPIO_MODE_OUTPUT_PP;
  GPIO_InitStruct.Pull = GPIO_NOPULL;
  GPIO_InitStruct.Speed = GPIO_SPEED_FREQ_LOW;
  HAL_GPIO_Init(GPIOE, &GPIO_InitStruct);

  /*Configure GPIO pins : RF_DIO3_Pin RF_DIO2_Pin RF_DIO1_Pin RF_NSRT_Pin
                           VLV_EN1_Pin IMU1_ADR_Pin */
  GPIO_InitStruct.Pin = RF_DIO3_Pin|RF_DIO2_Pin|RF_DIO1_Pin|RF_NSRT_Pin
                          |VLV_EN1_Pin|IMU1_ADR_Pin;
  GPIO_InitStruct.Mode = GPIO_MODE_OUTPUT_PP;
  GPIO_InitStruct.Pull = GPIO_NOPULL;
  GPIO_InitStruct.Speed = GPIO_SPEED_FREQ_LOW;
  HAL_GPIO_Init(GPIOC, &GPIO_InitStruct);

  /*Configure GPIO pins : SPI5_CS_Pin PDB_DIO1_Pin PDB_DIO2_Pin */
  GPIO_InitStruct.Pin = SPI5_CS_Pin|PDB_DIO1_Pin|PDB_DIO2_Pin;
  GPIO_InitStruct.Mode = GPIO_MODE_OUTPUT_PP;
  GPIO_InitStruct.Pull = GPIO_NOPULL;
  GPIO_InitStruct.Speed = GPIO_SPEED_FREQ_LOW;
  HAL_GPIO_Init(GPIOF, &GPIO_InitStruct);

  /*Configure GPIO pin : RF_BUSY_Pin */
  GPIO_InitStruct.Pin = RF_BUSY_Pin;
  GPIO_InitStruct.Mode = GPIO_MODE_INPUT;
  GPIO_InitStruct.Pull = GPIO_NOPULL;
  HAL_GPIO_Init(RF_BUSY_GPIO_Port, &GPIO_InitStruct);

  /*Configure GPIO pins : RF_MODE_SW_Pin VLV_OLD3_Pin VLV_OLD1_Pin */
  GPIO_InitStruct.Pin = RF_MODE_SW_Pin|VLV_OLD3_Pin|VLV_OLD1_Pin;
  GPIO_InitStruct.Mode = GPIO_MODE_INPUT;
  GPIO_InitStruct.Pull = GPIO_NOPULL;
  HAL_GPIO_Init(GPIOC, &GPIO_InitStruct);

  /*Configure GPIO pins : BAR2_CS_Pin BAR1_CS_Pin VLV_EN2_Pin */
  GPIO_InitStruct.Pin = BAR2_CS_Pin|BAR1_CS_Pin|VLV_EN2_Pin;
  GPIO_InitStruct.Mode = GPIO_MODE_OUTPUT_PP;
  GPIO_InitStruct.Pull = GPIO_NOPULL;
  GPIO_InitStruct.Speed = GPIO_SPEED_FREQ_LOW;
  HAL_GPIO_Init(GPIOA, &GPIO_InitStruct);

  /*Configure GPIO pin : PA6 */
  GPIO_InitStruct.Pin = GPIO_PIN_6;
  GPIO_InitStruct.Mode = GPIO_MODE_AF_PP;
  GPIO_InitStruct.Pull = GPIO_NOPULL;
  GPIO_InitStruct.Speed = GPIO_SPEED_FREQ_LOW;
  GPIO_InitStruct.Alternate = GPIO_AF5_SPI1;
  HAL_GPIO_Init(GPIOA, &GPIO_InitStruct);

  /*Configure GPIO pins : ETH_NRST_Pin BUZZ_Pin LED_RED_Pin */
  GPIO_InitStruct.Pin = ETH_NRST_Pin|BUZZ_Pin|LED_RED_Pin;
  GPIO_InitStruct.Mode = GPIO_MODE_OUTPUT_PP;
  GPIO_InitStruct.Pull = GPIO_NOPULL;
  GPIO_InitStruct.Speed = GPIO_SPEED_FREQ_LOW;
  HAL_GPIO_Init(GPIOB, &GPIO_InitStruct);

  /*Configure GPIO pin : PB2 */
  GPIO_InitStruct.Pin = GPIO_PIN_2;
  GPIO_InitStruct.Mode = GPIO_MODE_AF_PP;
  GPIO_InitStruct.Pull = GPIO_NOPULL;
  GPIO_InitStruct.Speed = GPIO_SPEED_FREQ_LOW;
  GPIO_InitStruct.Alternate = GPIO_AF7_SPI3;
  HAL_GPIO_Init(GPIOB, &GPIO_InitStruct);

  /*Configure GPIO pins : PB10 PB14 PB15 */
  GPIO_InitStruct.Pin = GPIO_PIN_10|GPIO_PIN_14|GPIO_PIN_15;
  GPIO_InitStruct.Mode = GPIO_MODE_AF_PP;
  GPIO_InitStruct.Pull = GPIO_NOPULL;
  GPIO_InitStruct.Speed = GPIO_SPEED_FREQ_LOW;
  GPIO_InitStruct.Alternate = GPIO_AF5_SPI2;
  HAL_GPIO_Init(GPIOB, &GPIO_InitStruct);

  /*Configure GPIO pins : TC_CS1_Pin TC_CS2_Pin IMU2_ADR_Pin */
  GPIO_InitStruct.Pin = TC_CS1_Pin|TC_CS2_Pin|IMU2_ADR_Pin;
  GPIO_InitStruct.Mode = GPIO_MODE_OUTPUT_PP;
  GPIO_InitStruct.Pull = GPIO_NOPULL;
  GPIO_InitStruct.Speed = GPIO_SPEED_FREQ_LOW;
  HAL_GPIO_Init(GPIOD, &GPIO_InitStruct);

  /*Configure GPIO pins : VLV_EN3_Pin SPI1_CS_Pin EEPROM_WC_Pin */
  GPIO_InitStruct.Pin = VLV_EN3_Pin|SPI1_CS_Pin|EEPROM_WC_Pin;
  GPIO_InitStruct.Mode = GPIO_MODE_OUTPUT_PP;
  GPIO_InitStruct.Pull = GPIO_NOPULL;
  GPIO_InitStruct.Speed = GPIO_SPEED_FREQ_LOW;
  HAL_GPIO_Init(GPIOG, &GPIO_InitStruct);

  /*Configure GPIO pins : BUFF_CLR_Pin BUFF_CLK_Pin VLV_CTRL_Pin */
  GPIO_InitStruct.Pin = BUFF_CLR_Pin|BUFF_CLK_Pin|VLV_CTRL_Pin;
  GPIO_InitStruct.Mode = GPIO_MODE_OUTPUT_PP;
  GPIO_InitStruct.Pull = GPIO_NOPULL;
  GPIO_InitStruct.Speed = GPIO_SPEED_FREQ_VERY_HIGH;
  HAL_GPIO_Init(GPIOA, &GPIO_InitStruct);

  /*Configure GPIO pin : PC10 */
  GPIO_InitStruct.Pin = GPIO_PIN_10;
  GPIO_InitStruct.Mode = GPIO_MODE_AF_PP;
  GPIO_InitStruct.Pull = GPIO_NOPULL;
  GPIO_InitStruct.Speed = GPIO_SPEED_FREQ_LOW;
  GPIO_InitStruct.Alternate = GPIO_AF6_SPI3;
  HAL_GPIO_Init(GPIOC, &GPIO_InitStruct);

  /*Configure GPIO pins : IMU1_INT1_Pin IMU1_INT2_Pin IMU2_INT1_Pin IMU2_INT2_Pin */
  GPIO_InitStruct.Pin = IMU1_INT1_Pin|IMU1_INT2_Pin|IMU2_INT1_Pin|IMU2_INT2_Pin;
  GPIO_InitStruct.Mode = GPIO_MODE_INPUT;
  GPIO_InitStruct.Pull = GPIO_NOPULL;
  HAL_GPIO_Init(GPIOD, &GPIO_InitStruct);

  /*Configure GPIO pin : PG12 */
  GPIO_InitStruct.Pin = GPIO_PIN_12;
  GPIO_InitStruct.Mode = GPIO_MODE_AF_PP;
  GPIO_InitStruct.Pull = GPIO_NOPULL;
  GPIO_InitStruct.Speed = GPIO_SPEED_FREQ_LOW;
  GPIO_InitStruct.Alternate = GPIO_AF5_SPI6;
  HAL_GPIO_Init(GPIOG, &GPIO_InitStruct);

  /*Configure GPIO pins : PB3 PB5 */
  GPIO_InitStruct.Pin = GPIO_PIN_3|GPIO_PIN_5;
  GPIO_InitStruct.Mode = GPIO_MODE_AF_PP;
  GPIO_InitStruct.Pull = GPIO_NOPULL;
  GPIO_InitStruct.Speed = GPIO_SPEED_FREQ_LOW;
  GPIO_InitStruct.Alternate = GPIO_AF5_SPI1;
  HAL_GPIO_Init(GPIOB, &GPIO_InitStruct);

  /*Configure GPIO pin : PB4 */
  GPIO_InitStruct.Pin = GPIO_PIN_4;
  GPIO_InitStruct.Mode = GPIO_MODE_AF_PP;
  GPIO_InitStruct.Pull = GPIO_NOPULL;
  GPIO_InitStruct.Speed = GPIO_SPEED_FREQ_LOW;
  GPIO_InitStruct.Alternate = GPIO_AF6_SPI3;
  HAL_GPIO_Init(GPIOB, &GPIO_InitStruct);

  /*AnalogSwitch Config */
  HAL_SYSCFG_AnalogSwitchConfig(SYSCFG_SWITCH_PC2, SYSCFG_SWITCH_PC2_CLOSE);

}

void StartDefaultTask(void *argument)
{
  /* USER CODE BEGIN 5 */
	// Populate HAL Config struct for driver
	// use handles/defines from CUBEMX

	radio_hal_config.spiHandle = &hspi5;
	radio_hal_config.nssPort = SPI5_CS_GPIO_Port;   // this is PF6
	radio_hal_config.nssPin = SPI5_CS_Pin;
	radio_hal_config.resetPort = RF_NSRT_GPIO_Port;  // this is PC2
	radio_hal_config.resetPin = RF_NSRT_Pin;
	radio_hal_config.busyPort = RF_BUSY_GPIO_Port; // PF10
	radio_hal_config.busyPin = RF_BUSY_Pin;

	//initialize the radio
	  printf("Initializing SX1280\r\n");
	  radio_status = SX1280_Init(&radio_hal_config);

	  if (radio_status == SX1280_OK) {
	    printf("SX1280 Init OK\r\n");
	  } else {
	    printf("SX1280 Init FAILED Status: %d\r\n", radio_status);
	    // Loop forever if init fails
	    while(1) {
	      vTaskDelay(1000);
	    }
	  }

	  printf("Setting LoRa SyncWord to 0x12\r\n");
	  radio_status = SX1280_SetLoRaSyncWord(0x12);
	  if (radio_status != SX1280_OK) {
	    printf("Failed to set SyncWord\r\n");
	  }

  // Define states for our state machine
  typedef enum {
      RADIO_MODE_UNKNOWN,
      RADIO_MODE_TX,
      RADIO_MODE_RX
  } RadioMode_t;

  RadioMode_t current_mode = RADIO_MODE_UNKNOWN;
  RadioMode_t desired_mode = RADIO_MODE_UNKNOWN;

  // --- Transmitter-specific variables ---
  uint8_t full_payload[TARGET_PAYLOAD_SIZE];
  for (int i = 0; i < TARGET_PAYLOAD_SIZE; i++)
  {
	  full_payload[i] = (uint8_t)(i % 256); // filling with dummy numbers 0-255
  }

  // temp buff LoRa packet
  uint8_t tx_packet_buffer[MAX_LORA_PAYLOAD];

  int packet_counter = 0;

  // --- Receiver-specific variables ---
  uint8_t rx_buffer[255]; //buffer holds received data

  // important, because there is a possibility we send two packets we must reassemble buffer
  uint8_t reassembled_data[TARGET_PAYLOAD_SIZE];

  uint8_t chunks_received_mask = 0; // bitmask, bit 0 for chunk 1, bit 1 for chunk 2

  for(;;)
  {
	  // READ RF SWITCH STATE. NO CONNECTIONS = RECEIVE. JUMPER = TRANSMIT
	  GPIO_PinState rf_switch_state = HAL_GPIO_ReadPin(RF_MODE_SW_GPIO_Port, RF_MODE_SW_Pin);

	  if (rf_switch_state == GPIO_PIN_SET) {
		  // Jumper is ON (HIGH). Set desired mode to TRANSMIT
		  desired_mode = RADIO_MODE_TX;
	  } else {
		  // Jumper is OFF (LOW). Set desired mode to RECEIVE
		  desired_mode = RADIO_MODE_RX;
	  }

	  // check to make change to radio's state
	  if (current_mode != desired_mode) {
		  printf("Switch state changed, Desired mode: %s\r\n", (desired_mode == RADIO_MODE_TX) ? "TRANSMIT" : "RECEIVE");

		  // Put radio in STDBY before changing modes
		  SX1280_SetStandby(STDBY_RC);

		  if (desired_mode == RADIO_MODE_RX) {
			  // --- INITIALIZE RECEIVE MODE ---
			  printf("Entering Receive Mode(SAFE)...\r\n");
			  radio_status = SX1280_SetRx(SX1280_RX_TIMEOUT_CONTINUOUS);
			  if (radio_status != SX1280_OK) {
				  printf("Error setting RX mode\r\n");
				  current_mode = RADIO_MODE_UNKNOWN; // Stay unknown to retry
			  } else {
				  current_mode = RADIO_MODE_RX; // Lock the new mode
				  chunks_received_mask = 0; // Rset reassembly logic
			  }
		  } else { // desired_mode == RADIO_MODE_TX
			  // --- INITIALIZE TRANSMIT MODE ---
			  printf("Entering Transmit Mode(CHECK ANTENNA)...\r\n");
			  current_mode = RADIO_MODE_TX;
		  }
	  }

	  // 3. Run the logic for the current mode
	  if (current_mode == RADIO_MODE_RX) {
		  // --- Run one iteration of RECEIVER logic ---
		  uint16_t irq_status = 0;
		  radio_status = SX1280_GetIrqStatus(&irq_status);

		  if (irq_status & SX1280_IRQ_RX_DONE)
		  {
			  int16_t packet_length = SX1280_ReadBuffer(rx_buffer, 255);
			  SX1280_ClearIrqStatus(0xFFFF); // Clear all IRQs

			  if (packet_length > 0)
			  {
                  uint8_t chunk_id = rx_buffer[0];

                  if (chunk_id == 0x01) {
                      printf("Received Chunk 1 (%d bytes)\r\n", packet_length-1);
                      memcpy(&reassembled_data[0], &rx_buffer[1], packet_length-1);
                      chunks_received_mask |= 1;
                  }
                  else if (chunk_id == 0x02) {
                      printf("Received Chunk 2 (%d bytes)\r\n", packet_length-1);
                      memcpy(&reassembled_data[CHUNK_SIZE], &rx_buffer[1], packet_length-1);
                      chunks_received_mask |= 2;
                  }

                  // full payload check
                  if (chunks_received_mask == 3) {
                      printf("FULL PAYLOAD RECEIVED, Processing\r\n");
                      // Process data here (r
                      chunks_received_mask = 0; // Next frame incoming, reset
                  }
			  } else if (packet_length < 0) {
				  printf("Error reading buffer\r\n");
			  }
		  }
		  vTaskDelay(10); // Poll frequently

	  } else if (current_mode == RADIO_MODE_TX) {
		  // --- Run one iteration of TRANSMITTER logic ---
		  printf("Sending frmae %d \r\n", packet_counter);

		  // sending chunk 1
		  tx_packet_buffer[0] = 0x01; // header ID 1
          memcpy(&tx_packet_buffer[1], &full_payload[0], CHUNK_SIZE); // 254 bytes data

          SX1280_SetPacketParams(0x0C, LORA_EXPLICIT_HEADER, CHUNK_SIZE+1, LORA_CRC_ON, LORA_IQ_STANDARD);
          SX1280_WriteBuffer(tx_packet_buffer, CHUNK_SIZE+1);
          SX1280_SetTx(5000); // 5 seconds

          // Wait for TX DONE (Busy wait or polling IRQ)
          uint16_t irq;

          do {
              vTaskDelay(100);
              SX1280_GetIrqStatus(&irq);
          } while (!(irq & (SX1280_IRQ_TX_DONE | SX1280_IRQ_RX_TX_TIMEOUT)));
          SX1280_ClearIrqStatus(0xFFFF);

          // --- SEND CHUNK 2 ---
          int remaining_bytes = TARGET_PAYLOAD_SIZE - CHUNK_SIZE;
          tx_packet_buffer[0] = 0x02; // Header ID 2
          memcpy(&tx_packet_buffer[1], &full_payload[CHUNK_SIZE], remaining_bytes);

          SX1280_SetPacketParams(0x0C, LORA_EXPLICIT_HEADER, remaining_bytes+1, LORA_CRC_ON, LORA_IQ_STANDARD);
          SX1280_WriteBuffer(tx_packet_buffer, remaining_bytes+1);
          SX1280_SetTx(5000); // 5 seconds

          // Wait for TX DONE
          do {
              vTaskDelay(100);
              SX1280_GetIrqStatus(&irq);
          } while (!(irq & (SX1280_IRQ_TX_DONE | SX1280_IRQ_RX_TX_TIMEOUT)));
          SX1280_ClearIrqStatus(0xFFFF);

          printf("Frame %d Sent (Split in 2)\r\n", packet_counter);
		  packet_counter++;

		  // next full frame update
		  vTaskDelay(5000);
	  }
	  else
	  {
		  vTaskDelay(1000);
	  }
  }
  /* USER CODE END 5 */
}

 /* MPU Configuration */

void MPU_Config(void)
{
  MPU_Region_InitTypeDef MPU_InitStruct = {0};

  /* Disables the MPU */
  HAL_MPU_Disable();

  /** Initializes and configures the Region and the memory to be protected
  */
  MPU_InitStruct.Enable = MPU_REGION_ENABLE;
  MPU_InitStruct.Number = MPU_REGION_NUMBER0;
  MPU_InitStruct.BaseAddress = 0x0;
  MPU_InitStruct.Size = MPU_REGION_SIZE_4GB;
  MPU_InitStruct.SubRegionDisable = 0x87;
  MPU_InitStruct.TypeExtField = MPU_TEX_LEVEL0;
  MPU_InitStruct.AccessPermission = MPU_REGION_NO_ACCESS;
  MPU_InitStruct.DisableExec = MPU_INSTRUCTION_ACCESS_DISABLE;
  MPU_InitStruct.IsShareable = MPU_ACCESS_SHAREABLE;
  MPU_InitStruct.IsCacheable = MPU_ACCESS_NOT_CACHEABLE;
  MPU_InitStruct.IsBufferable = MPU_ACCESS_NOT_BUFFERABLE;

  HAL_MPU_ConfigRegion(&MPU_InitStruct);

  /** Initializes and configures the Region and the memory to be protected
  */
  MPU_InitStruct.Number = MPU_REGION_NUMBER1;
  MPU_InitStruct.BaseAddress = 0x30020000;
  MPU_InitStruct.Size = MPU_REGION_SIZE_128KB;
  MPU_InitStruct.SubRegionDisable = 0x0;
  MPU_InitStruct.TypeExtField = MPU_TEX_LEVEL1;
  MPU_InitStruct.AccessPermission = MPU_REGION_FULL_ACCESS;
  MPU_InitStruct.IsShareable = MPU_ACCESS_NOT_SHAREABLE;

  HAL_MPU_ConfigRegion(&MPU_InitStruct);

  /** Initializes and configures the Region and the memory to be protected
  */
  MPU_InitStruct.Number = MPU_REGION_NUMBER2;
  MPU_InitStruct.BaseAddress = 0x30040000;
  MPU_InitStruct.Size = MPU_REGION_SIZE_512B;
  MPU_InitStruct.TypeExtField = MPU_TEX_LEVEL0;
  MPU_InitStruct.IsShareable = MPU_ACCESS_SHAREABLE;
  MPU_InitStruct.IsBufferable = MPU_ACCESS_BUFFERABLE;

  HAL_MPU_ConfigRegion(&MPU_InitStruct);
  /* Enables the MPU */
  HAL_MPU_Enable(MPU_PRIVILEGED_DEFAULT);

}

void HAL_TIM_PeriodElapsedCallback(TIM_HandleTypeDef *htim)
{
  if (htim->Instance == TIM6)
  {
    HAL_IncTick();
  }
}

void Error_Handler(void)
{
  /* USER CODE BEGIN Error_Handler_Debug */
  /* User can add his own implementation to report the HAL error return state */
  //__disable_irq();
  while (1)
  {
  }
  /* USER CODE END Error_Handler_Debug */
}
